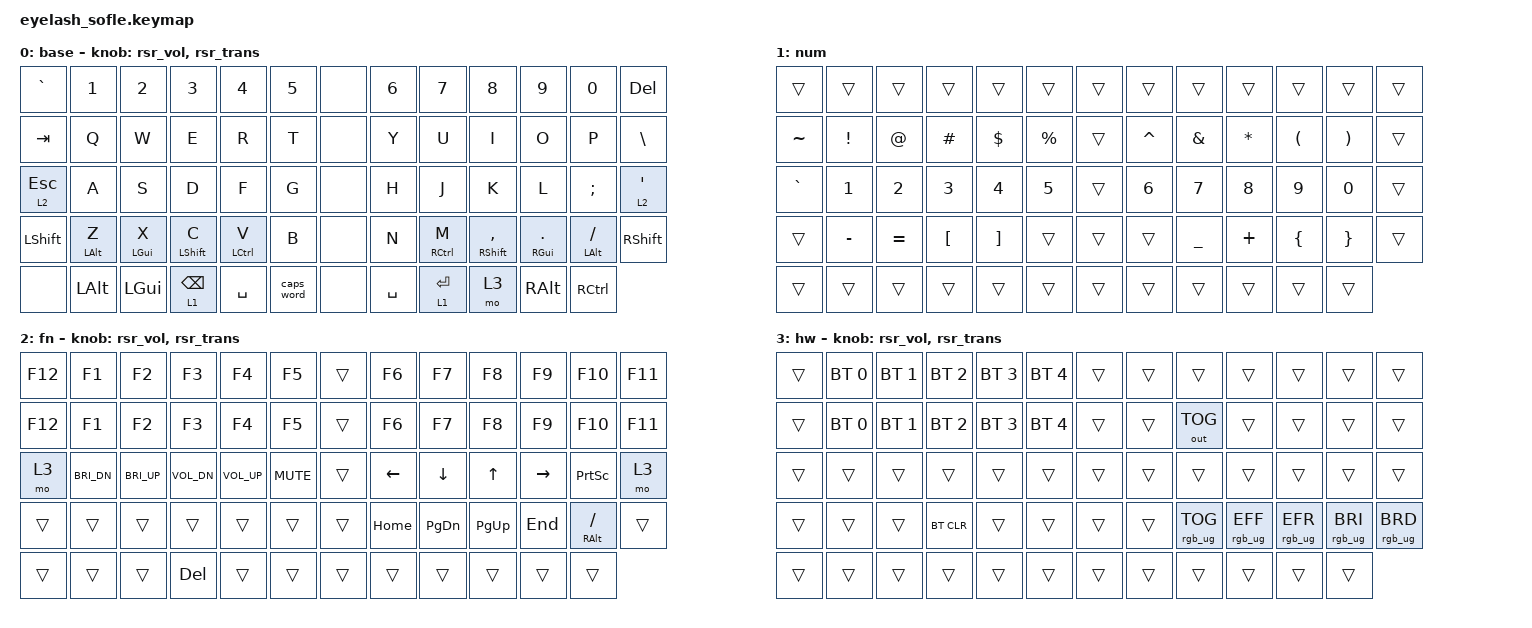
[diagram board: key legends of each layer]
#include <input/processors.dtsi>
#include <zephyr/dt-bindings/input/input-event-codes.h>
#include <behaviors/runtime-sensor-rotate.dtsi>
#include <behaviors.dtsi>
#include <dt-bindings/zmk/bt.h>
#include <dt-bindings/zmk/keys.h>
#include <dt-bindings/zmk/outputs.h>
#include <dt-bindings/zmk/pointing.h>
#include <dt-bindings/zmk/rgb.h>

&mmv_input_listener { input-processors = <&zip_xy_scaler 2 1>; };

&msc_input_listener { input-processors = <&zip_scroll_scaler 2 1>; };

&msc {
    acceleration-exponent = <1>;      // 0
    time-to-max-speed-ms = <100>;       // 300
    delay-ms = <0>;                   // 0
};

&mmv {
    time-to-max-speed-ms = <500>;
    acceleration-exponent = <1>;
    trigger-period-ms = <16>;
};

/*
key codes
0  1  2  3  4  5   6   7  8  9  10 11 12
13 14 15 16 17 18  19  20 21 22 23 24 25
26 27 28 29 30 31  32  33 34 35 36 37 38
39 40 41 42 43 44  45  46 47 48 49 50 51
52 53 54 55 56 57  58  59 60 61 62 63
^ encoder          ^ joystick
*/

&lt {
    tapping-term-ms = <200>;
    flavor = "balanced";
    quick-tap-ms = <200>;
};

/ {
    scroll_encoder: scroll_encoder {
        compatible = "zmk,behavior-sensor-rotate";
        #sensor-binding-cells = <0>;
        bindings = <&msc SCRL_DOWN>, <&msc SCRL_UP>;

        tap-ms = <100>;
    };

    behaviors {
        rsr_vol: rsr_vol {
            compatible = "zmk,behavior-runtime-sensor-rotate";
            #sensor-binding-cells = <0>;
            tap-ms = <5>;
            cw-binding = <&kp C_VOL_UP>;
            ccw-binding = <&kp C_VOL_DN>;
        };

        rsr_trans: rsr_trans {
            compatible = "zmk,behavior-runtime-sensor-rotate";
            #sensor-binding-cells = <0>;
            tap-ms = <0>;
        };

        lth: layer_tap_hold_preferred {
            compatible = "zmk,behavior-hold-tap";
            #binding-cells = <2>;
            flavor = "hold-preferred";
            tapping-term-ms = <200>;
            quick-tap-ms = <200>;
            bindings = <&mo>, <&kp>;
        };

        hml: home_row_mod_left {
            compatible = "zmk,behavior-hold-tap";
            #binding-cells = <2>;
            flavor = "balanced";
            require-prior-idle-ms = <128>;
            tapping-term-ms = <280>;
            quick-tap-ms = <200>;
            bindings = <&kp>, <&kp>;

            // List of keys on the right side of the keyboard
            // shift excluded

            hold-trigger-key-positions = <
                7  8  9  10 11 12
                20 21 22 23 24 25
                33 34 35 36 37 38
                46 47 48 49 50 51
                59 60 61 62 63
            >;

            hold-trigger-on-release;
        };

        hmr: home_row_mod_right {
            compatible = "zmk,behavior-hold-tap";
            #binding-cells = <2>;
            flavor = "balanced";
            require-prior-idle-ms = <128>;
            tapping-term-ms = <280>;
            quick-tap-ms = <200>;
            bindings = <&kp>, <&kp>;

            // List of keys on the left side of the keyboard
            // shift excluded

            hold-trigger-key-positions = <
                0  1  2  3  4  5
                13 14 15 16 17 18
                26 27 28 29 30 31
                39 40 41 42 43 44
                   53 54 55 56 57
            >;

            hold-trigger-on-release;
        };
    };

    keymap {
        compatible = "zmk,keymap";

        base_0 {
            bindings = <
&kp GRAVE       &kp N1       &kp N2        &kp N3         &kp N4        &kp N5        &none  &kp N6     &kp N7        &kp N8             &kp N9         &kp N0          &kp DELETE
&kp TAB         &kp Q        &kp W         &kp E          &kp R         &kp T         &none  &kp Y      &kp U         &kp I              &kp O          &kp P           &kp BSLH
&lth 2 ESC      &kp A        &kp S         &kp D          &kp F         &kp G         &none  &kp H      &kp J         &kp K              &kp L          &kp SEMI        &lt 2 SQT
&kp LEFT_SHIFT  &hml LALT Z  &hml LGUI X   &hml LSHIFT C  &hml LCTRL V  &kp B         &none  &kp N      &hmr RCTRL M  &hmr RSHIFT COMMA  &hmr RGUI DOT  &hmr LALT FSLH  &kp RIGHT_SHIFT
&none           &kp LALT     &kp LEFT_GUI  &lth 1 BSPC    &kp SPACE     &caps_word    &none  &kp SPACE  &lth 1 ENTER  &mo 3              &kp RALT       &kp RCTRL
            >;

            sensor-bindings = <&rsr_vol &rsr_trans>;
            display-name = "base";
        };

        num_1 {
            bindings = <
&trans     &trans     &trans     &trans    &trans      &trans         &trans  &trans     &trans     &trans    &trans    &trans    &trans
&kp TILDE  &kp EXCL   &kp AT     &kp HASH  &kp DOLLAR  &kp PERCENT    &trans  &kp CARET  &kp AMPS   &kp STAR  &kp LPAR  &kp RPAR  &trans
&kp GRAVE  &kp N1     &kp N2     &kp N3    &kp N4      &kp N5         &trans  &kp N6     &kp N7     &kp N8    &kp N9    &kp N0    &trans
&trans     &kp MINUS  &kp EQUAL  &kp LBKT  &kp RBKT    &trans         &trans  &trans     &kp UNDER  &kp PLUS  &kp LBRC  &kp RBRC  &trans
&trans     &trans     &trans     &trans    &trans      &trans         &trans  &trans     &trans     &trans    &trans    &trans
            >;

            label = "num";
        };

        fn_2 {
            bindings = <
&kp F12  &kp F1        &kp F2        &kp F3        &kp F4        &kp F5        &trans  &kp F6    &kp F7     &kp F8     &kp F9     &kp F10         &kp F11
&kp F12  &kp F1        &kp F2        &kp F3        &kp F4        &kp F5        &trans  &kp F6    &kp F7     &kp F8     &kp F9     &kp F10         &kp F11
&mo 3    &kp C_BRI_DN  &kp C_BRI_UP  &kp C_VOL_DN  &kp C_VOL_UP  &kp C_MUTE    &trans  &kp LEFT  &kp DOWN   &kp UP     &kp RIGHT  &kp PSCRN       &mo 3
&trans   &trans        &trans        &trans        &trans        &trans        &trans  &kp HOME  &kp PG_DN  &kp PG_UP  &kp END    &hmr RALT FSLH  &trans
&trans   &trans        &trans        &kp DELETE    &trans        &trans        &trans  &trans    &trans     &trans     &trans     &trans
            >;

            display-name = "fn";
            sensor-bindings = <&rsr_vol &rsr_trans>;
        };

        hardware_3 {
            bindings = <
&trans  &bt BT_SEL 0  &bt BT_SEL 1  &bt BT_SEL 2  &bt BT_SEL 3  &bt BT_SEL 4    &trans  &trans  &trans           &trans           &trans           &trans           &trans
&trans  &bt BT_SEL 0  &bt BT_SEL 1  &bt BT_SEL 2  &bt BT_SEL 3  &bt BT_SEL 4    &trans  &trans  &out OUT_TOG     &trans           &trans           &trans           &trans
&trans  &trans        &trans        &trans        &trans        &trans          &trans  &trans  &trans           &trans           &trans           &trans           &trans
&trans  &trans        &trans        &bt BT_CLR    &trans        &trans          &trans  &trans  &rgb_ug RGB_TOG  &rgb_ug RGB_EFF  &rgb_ug RGB_EFR  &rgb_ug RGB_BRI  &rgb_ug RGB_BRD
&trans  &trans        &trans        &trans        &trans        &trans          &trans  &trans  &trans           &trans           &trans           &trans
            >;

            display-name = "hw";
            sensor-bindings = <&rsr_vol &rsr_trans>;
        };
    };
};
